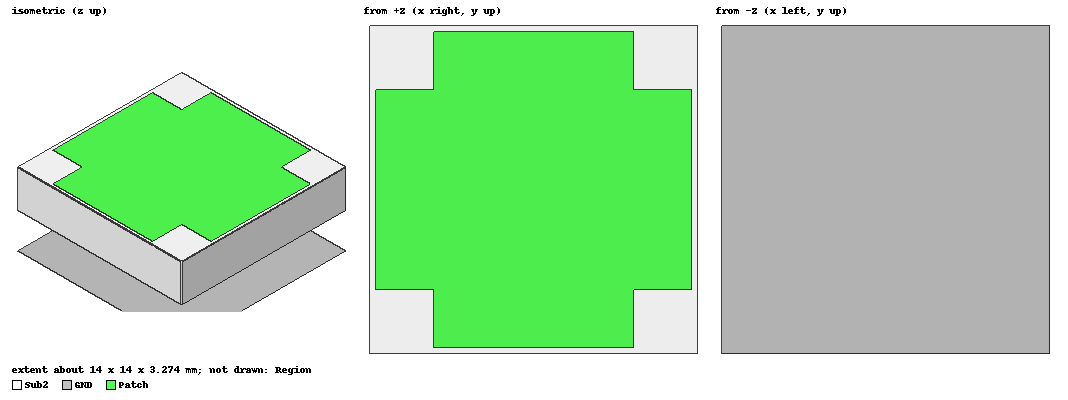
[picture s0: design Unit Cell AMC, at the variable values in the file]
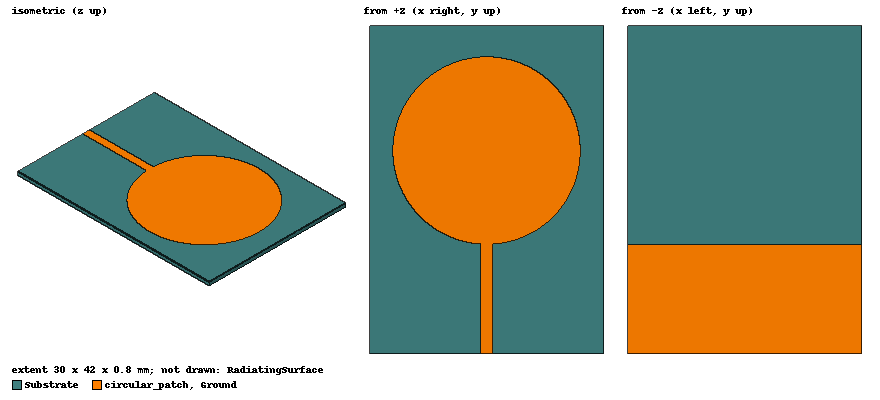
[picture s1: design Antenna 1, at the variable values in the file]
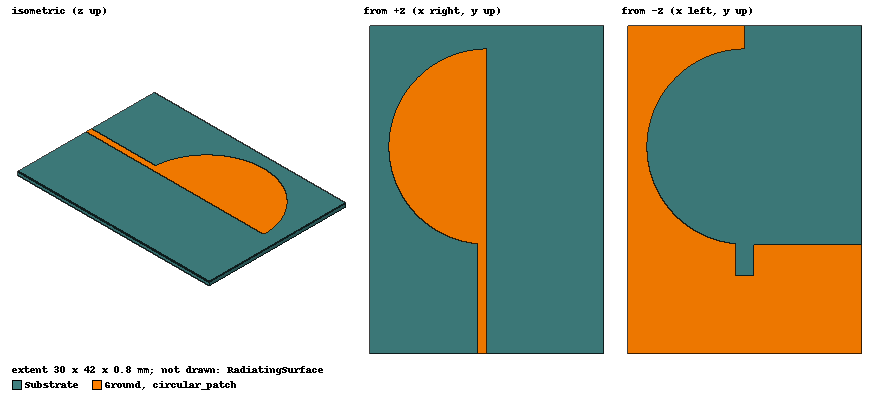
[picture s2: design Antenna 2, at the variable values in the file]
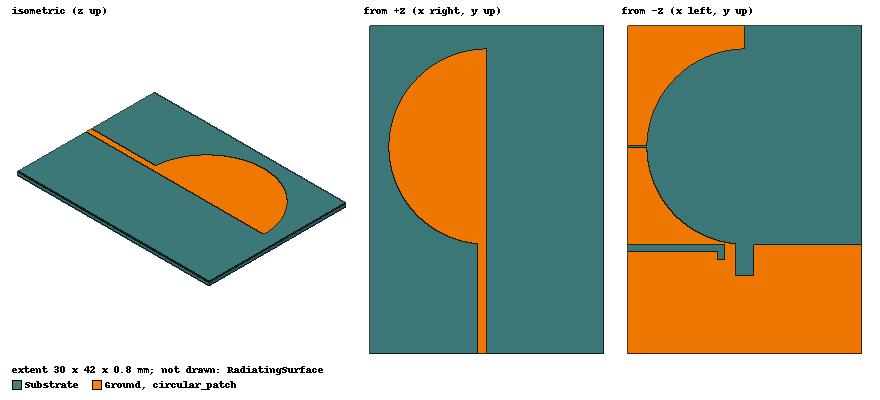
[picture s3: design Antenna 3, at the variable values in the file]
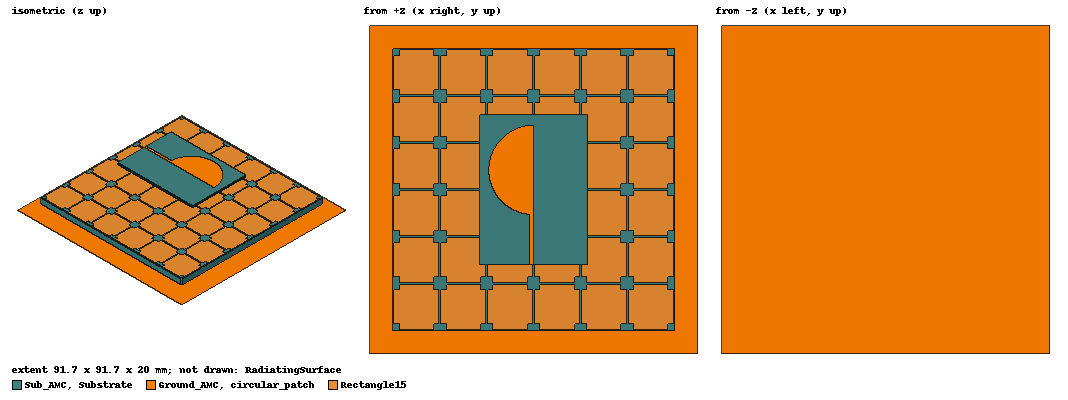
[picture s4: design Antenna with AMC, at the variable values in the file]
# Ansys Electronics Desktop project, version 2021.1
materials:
  FR4_epoxy: permittivity=4.4 dielectric_loss_tangent=0.02
  copper: permeability=0.999991 conductivity=58000000
  vacuum: permittivity=1

design Unit Cell AMC (HFSS, DrivenModal, model units mm)
options: Calculate_Lossy_Dielectrics Save_Adaptive_support_files
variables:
  P = 14mm
  t = 0mm
  hs = 3.2mm
  Wo = 13.5mm
  H = 41.666667mm
  ha = 0mm
  g = 8.2mm
  ws1 = 3mm
  ws2 = 3mm
  ls1 = 2mm
  ls2 = ls1- 2*(r1-r2)
  r1 = 6.5mm
  r2 = 6mm
  k = 3mm
  l = 2.5mm
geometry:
  GND [copper] = box(corner=(-P/2, -P/2, -3mm), size=(P, P, t))
  Patch [copper] = box(corner=(-Wo/2, -Wo/2, t+hs+ha), size=(Wo, Wo, t))
  Sub2 [FR4_epoxy] = box(corner=(-P/2, -P/2, 0mm), size=(P, P, hs))
  Region [vacuum] = region(absolute_offset: +X=0, -X=0, +Y=0, -Y=0, +Z=41.666667mm, -Z=0)
  Rectangle1 = rectangle(corner=(-Wo/2, -Wo/2, t+hs+ha), x_size=l, y_size=l)
  Rectangle1_1 = Rectangle1.duplicate_along_line(step=(0mm, Wo-l, 0mm), total=2)
  Rectangle1.unite(Rectangle1_1)
  Rectangle1_2 = Rectangle1.duplicate_along_line(step=(wo-l, 0mm, 0mm), total=2)
  Rectangle1.unite(Rectangle1_2)
  Patch.subtract(Rectangle1)
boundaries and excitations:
  Primary1: Primary Faces=Region.face(-y) CoordSysVector{Region.vertex(4 of 8) -> Region.vertex(1 of 8)}
  Primary2: Primary Faces=Region.face(-x) CoordSysVector{Region.vertex(4 of 8) -> Region.vertex(3 of 8)} ReverseV
  Secondary2: Secondary Faces=Region.face(+x) CoordSysVector{Region.vertex(1 of 8) -> Region.vertex(2 of 8)} primary=Primary2 PhaseDelay=UseScanAngle Phi=0deg Theta=0deg
  Secondary1: Secondary Faces=Region.face(+y) CoordSysVector{Region.vertex(3 of 8) -> Region.vertex(2 of 8)} ReverseV primary=Primary1 PhaseDelay=UseScanAngle Phi=0deg Theta=0deg
  FiniteCond1: Finite Conductivity Objects=GND Conductivity=58000000 Permeability=1 IsInternal
  FiniteCond2: Finite Conductivity Objects=Patch Conductivity=58000000 Permeability=1 IsInternal
  FloquetPort1: Floquet Port Faces=Region.face(+z) NumModes=2 DeembedDist=41.666667mm Modes{Mode1{CharImp=Zpi} Mode2{CharImp=Zpi}} PhaseDelay=UseScanAngle Phi=0deg Theta=0deg LatticeAVector{Region.vertex(3 of 8) -> Region.vertex(4 of 8)} LatticeBVector{Region.vertex(3 of 8) -> Region.vertex(2 of 8)} ModesList{Mode{ModeNumber=1 IndexM=0 IndexN=0 KC2=0 PropagationState=Propagating Attenuation=0 PolarizationState=TE AffectsRefinement} Mode{ModeNumber=2 IndexM=0 IndexN=0 KC2=0 PropagationState=Propagating Attenuation=0 PolarizationState=TM AffectsRefinement}}
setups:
  Setup1: HfssDriven Frequency=3.1GHz MaxDeltaS=0.02 MaximumPasses=20 MinimumPasses=1 MinimumConvergedPasses=1 PercentRefinement=30 BasisOrder=1 PortAccuracy=2 IESolverType=ACA
    sweep Sweep: 2GHz to 7GHz, 51 points; Type=Interpolating InterpTolerance=0.5 InterpMaxSolns=250 InterpUsePortImped=false PassivityErrorTolerance=0.0001
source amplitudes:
  FloquetPort1:1: 1W 0deg
  FloquetPort1:2: 0W 0deg
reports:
  S Parameter Plot 1: ang_deg(S(FloquetPort1:1,FloquetPort1:1)) vs Freq on Setup1 : Sweep; markers MX1 at x=5.8479441e+09, MX2 at x=2.4e+09, MY1 at y=0

design Antenna 1 (HFSS, DrivenModal, model units mm)
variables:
  Ws = 30mm
  Ls = 42mm
  hs = 0.8mm
  R_ = 12mm
  L1 = 14mm
  L2 = 12mm
  L3 = 1mm
  L4 = 13mm
  L5 = 2mm
  L6 = 1mm
  W1 = 12.5mm
  W2 = 13.9mm
  Wf = 1.5mm
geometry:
  Substrate [FR4_epoxy] = box(corner=(-Ws/2, -Ls/2, 0mm), size=(Ws, Ls, hs))
  Ground = rectangle(corner=(-Ws/2, -Ls/2, 0), x_size=Ws, y_size=L1)
  circular_patch = circle(normal=Z, centre=(0mm, -Ls/2+L1+R_, hs), radius=R_)
  Rectangle12 = rectangle(corner=(-Wf/2, -Ls/2, hs), x_size=Wf, y_size=L1+1mm)
  circular_patch.unite(Rectangle12)
  Rectangle13 = rectangle(corner=(-wf/2, -Ls/2, 0), z_size=hs, x_size=Wf)
  RadiatingSurface [vacuum] = region(absolute_offset=41.666667mm on all sides)
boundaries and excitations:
  FiniteCond_ground: Finite Conductivity Objects=Ground Conductivity=58000000 Permeability=1 IsInternal
  FiniteCond_patch: Finite Conductivity Objects=circular_patch Conductivity=58000000 Permeability=1 IsInternal
  Open1: Radiation Objects=RadiatingSurface
  1: Lumped Port Objects=Rectangle13 Modes{Mode1{IntLine{middle of Rectangle13.edge(z at corner) -> middle of Rectangle13.edge(z opposite corner)} CharImp=Zpi RenormImp=50ohm}} Impedance=50ohm
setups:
  Setup1: HfssDriven MultipleAdaptiveFreqsSetup{AdaptAt{Frequency=2.45GHz Delta=0.02} AdaptAt{Frequency=5.5GHz Delta=0.02}} MaximumPasses=30 MinimumPasses=1 MinimumConvergedPasses=1 PercentRefinement=30 BasisOrder=1 PortAccuracy=2
    sweep Sweep: 2GHz to 7GHz step 0.01GHz; Type=Discrete SaveFields SaveRadFields
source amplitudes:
  1:1: 1W 0deg
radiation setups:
  3D: Infinite Sphere Theta=-180deg..180deg step 2deg Phi=-180deg..180deg step 2deg
  Elevation: Infinite Sphere Theta=-180deg..180deg step 1deg Phi=0deg..90deg step 90deg
  Azimuth: Infinite Sphere Theta=90deg..90deg step 0deg Phi=-180deg..180deg step 1deg
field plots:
  Vector_Jsurf2: Jsurf over circular_patch.face(at (0, 5, 0.8)) Ground.face on Setup1 : LastAdaptive at Freq=5.5GHz Phase=0deg
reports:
  S Parameter Plot 1: dB(S(1,1)) vs Freq on Setup1 : Sweep; markers m1 at 3.14GHz, m2 at 6.24GHz, MY1 at y=-10.0097
  Axial Ratio Plot 1: dB(AxialRatioValue) vs Freq on Setup1 : Sweep, 3D [Phi=0deg Theta=0deg]; markers MY1 at y=3.0445
  Realized Gain Plot 1: dB(RealizedGainTotal) vs Freq on Setup1 : Sweep, 3D [Phi=0deg Theta=0deg R_=12mm]; markers m1 at 5.5GHz, MY1 at y=3.70526

design Antenna 2 (HFSS, DrivenModal, model units mm)
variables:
  Ws = 30mm
  Ls = 42mm
  hs = 0.8mm
  R_ = 12.5mm
  L1 = 14mm
  L2 = 4mm
  L3 = 2mm
  L4 = 1mm
  L5 = 0.3mm
  W1 = 12.5mm
  W2 = 2.4mm
  Wf = 1.2mm
  d = 13mm
  ha = 3.2mm
  g = (d-a)/2
  Wa = 6*d
  La = 6*d
  a = 12.5mm
  h1 = 13.5mm
  h2 = 3mm
  k = 2mm
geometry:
  Substrate [FR4_epoxy] = box(corner=(-Ws/2, -Ls/2, 0mm), size=(Ws, Ls, hs))
  Ground = rectangle(corner=(-Ws/2, -Ls/2, 0), x_size=Ws, y_size=L1)
  Rectangle4 = rectangle(corner=(0, -Ls/2, 0mm), x_size=Ws/2, y_size=Ls)
  Rectangle11 = rectangle(corner=(0, -Ls/2, hs), x_size=Ws/2, y_size=Ls)
  circular_patch = circle(normal=Z, centre=(0mm, -Ls/2+L1+R_, hs), radius=R_)
  circular_patch.subtract(Rectangle11)
  Rectangle12 = rectangle(corner=(-Wf, -Ls/2, hs), x_size=Wf, y_size=L1+1mm)
  circular_patch.unite(Rectangle12)
  Rectangle13 = rectangle(corner=(-Wf, -Ls/2, 0), z_size=hs, x_size=Wf)
  Circle1 = circle(normal=Z, centre=(0mm, -Ls/2+L1+R_, 0), radius=R_)
  Rectangle4.subtract(Circle1)
  Ground.unite(Rectangle4)
  RadiatingSurface [vacuum] = region(absolute_offset=41.666667mm on all sides)
  Rectangle14 = rectangle(corner=(-w2/2, -ls/2+l1+0.5mm, 0mm), x_size=w2, y_size=-l2-0.5mm)
  Ground.subtract(Rectangle14)
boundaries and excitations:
  FiniteCond_ground: Finite Conductivity Objects=Ground Conductivity=58000000 Permeability=1 IsInternal
  FiniteCond_patch: Finite Conductivity Objects=circular_patch Conductivity=58000000 Permeability=1 IsInternal
  Open1: Radiation Objects=RadiatingSurface
  1: Lumped Port Objects=Rectangle13 Modes{Mode1{IntLine{middle of Rectangle13.edge(z at corner) -> middle of Rectangle13.edge(z opposite corner)} CharImp=Zpi RenormImp=50ohm}} Impedance=50ohm
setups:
  Setup1: HfssDriven MultipleAdaptiveFreqsSetup{AdaptAt{Frequency=2.45GHz Delta=0.02} AdaptAt{Frequency=5.5GHz Delta=0.02}} MaximumPasses=30 MinimumPasses=1 MinimumConvergedPasses=1 PercentRefinement=30 BasisOrder=1 PortAccuracy=2
    sweep Sweep: 2GHz to 7GHz step 0.01GHz; Type=Discrete SaveFields SaveRadFields
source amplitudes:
  1:1: 1W 0deg
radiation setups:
  3D: Infinite Sphere Theta=-180deg..180deg step 2deg Phi=-180deg..180deg step 2deg
  Elevation: Infinite Sphere Theta=-180deg..180deg step 1deg Phi=0deg..90deg step 90deg
  Azimuth: Infinite Sphere Theta=90deg..90deg step 0deg Phi=-180deg..180deg step 1deg
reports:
  S Parameter Plot 1: dB(S(1,1)) vs Freq on Setup1 : Sweep; markers m1 at 2.82GHz, m2 at 5.17GHz, MY1 at y=-10
  Axial Ratio Plot 1: dB(AxialRatioValue) vs Freq on Setup1 : Sweep, 3D [Phi=0deg Theta=0deg]; markers m1 at 2.4GHz, m4 at 5.4GHz, m5 at 5.08GHz, MY1 at y=3.84075
  Realized Gain Plot 1: dB(RealizedGainTotal) vs Freq on Setup1 : Sweep, 3D [Phi=0deg Theta=0deg]; markers m1 at 5.5GHz, m2 at 4.71GHz, m3 at 5.48GHz

design Antenna 3 (HFSS, DrivenModal, model units mm)
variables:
  Ws = 30mm
  Ls = 42mm
  hs = 0.8mm
  R_ = 12.5mm
  L1 = 14mm
  L2 = 4mm
  L3 = 2mm
  L4 = 1mm
  L5 = 0.3mm
  W1 = 12.5mm
  W2 = 2.4mm
  Wf = 1.2mm
  d = 13mm
  ha = 3.2mm
  g = (d-a)/2
  Wa = 6*d
  La = 6*d
  a = 12.5mm
  h1 = 13.5mm
  h2 = 3mm
  k = 2mm
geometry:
  Substrate [FR4_epoxy] = box(corner=(-Ws/2, -Ls/2, 0mm), size=(Ws, Ls, hs))
  Ground = rectangle(corner=(-Ws/2, -Ls/2, 0), x_size=Ws, y_size=L1)
  Rectangle4 = rectangle(corner=(0, -Ls/2, 0mm), x_size=Ws/2, y_size=Ls)
  Rectangle11 = rectangle(corner=(0, -Ls/2, hs), x_size=Ws/2, y_size=Ls)
  circular_patch = circle(normal=Z, centre=(0mm, -Ls/2+L1+R_, hs), radius=R_)
  circular_patch.subtract(Rectangle11)
  Rectangle12 = rectangle(corner=(-Wf, -Ls/2, hs), x_size=Wf, y_size=L1+1mm)
  circular_patch.unite(Rectangle12)
  Rectangle13 = rectangle(corner=(-Wf, -Ls/2, 0), z_size=hs, x_size=Wf)
  Circle1 = circle(normal=Z, centre=(0mm, -Ls/2+L1+R_, 0), radius=R_)
  Rectangle4.subtract(Circle1)
  Ground.unite(Rectangle4)
  RadiatingSurface [vacuum] = region(absolute_offset=41.666667mm on all sides)
  Rectangle14 = rectangle(corner=(-w2/2, -ls/2+l1+0.5mm, 0mm), x_size=w2, y_size=-l2-0.5mm)
  Ground.subtract(Rectangle14)
  Slot4 = rectangle(corner=(Ws/2, -Ls/2 + L1+R_-L5/2, 0mm), x_size=-(Ws-2*R_)/2-1mm, y_size=L5)
  Ground.subtract(Slot4)
  Slot2 = rectangle(corner=(Ws/2-W1, -Ls/2 + L1, 0mm), x_size=W1, y_size=-L4)
  Slot3 = rectangle(corner=(Ws/2-W1, -Ls/2 + L1, 0mm), x_size=L4, y_size=-L3)
  Ground.subtract(Slot2, Slot3)
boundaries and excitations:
  FiniteCond_ground: Finite Conductivity Objects=Ground Conductivity=58000000 Permeability=1 IsInternal
  FiniteCond_patch: Finite Conductivity Objects=circular_patch Conductivity=58000000 Permeability=1 IsInternal
  Open1: Radiation Objects=RadiatingSurface
  1: Lumped Port Objects=Rectangle13 Modes{Mode1{IntLine{middle of Rectangle13.edge(z at corner) -> middle of Rectangle13.edge(z opposite corner)} CharImp=Zpi RenormImp=50ohm}} Impedance=50ohm
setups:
  Setup1: HfssDriven MultipleAdaptiveFreqsSetup{AdaptAt{Frequency=2.45GHz Delta=0.02} AdaptAt{Frequency=5.5GHz Delta=0.02}} MaximumPasses=30 MinimumPasses=1 MinimumConvergedPasses=1 PercentRefinement=30 BasisOrder=1 PortAccuracy=2
    sweep Sweep: 2GHz to 7GHz step 0.01GHz; Type=Discrete SaveFields SaveRadFields
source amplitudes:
  1:1: 1W 0deg
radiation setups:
  3D: Infinite Sphere Theta=-180deg..180deg step 2deg Phi=-180deg..180deg step 2deg
  Elevation: Infinite Sphere Theta=-180deg..180deg step 1deg Phi=0deg..90deg step 90deg
  Azimuth: Infinite Sphere Theta=90deg..90deg step 0deg Phi=-180deg..180deg step 1deg
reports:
  S Parameter Plot 1: dB(S(1,1)) vs Freq on Setup1 : Sweep; markers m1 at 5.3GHz, m4 at 2.39GHz, m5 at 2.57GHz, m6 at 3.86GHz, MY1 at y=-10
  Axial Ratio Plot 1: dB(AxialRatioValue) vs Freq on Setup1 : Sweep, 3D [Phi=0deg Theta=0deg]; markers m1 at 2.34GHz, m4 at 5.13GHz, m5 at 3.46GHz, MY1 at y=3.00986
  Realized Gain Plot 1: dB(RealizedGainTotal) vs Freq on Setup1 : Sweep, 3D [Phi=0deg Theta=0deg]; markers m1 at 4.85GHz, m2 at 5.15GHz, m4 at 2.45GHz, m5 at 2.5GHz, m6 at 5.5GHz

design Antenna with AMC (HFSS, DrivenModal, model units mm)
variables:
  Ws = 30mm
  Ls = 42mm
  hs = 0.8mm
  R_ = 12.5mm
  L1 = 14mm
  L2 = 4mm
  L3 = 2mm
  L4 = 1mm
  L5 = 0.5mm
  W1 = 12.8mm
  W2 = 2.4mm
  Wf = 1.2mm
  d = 13.1mm
  ha = 3.2mm
  g = (d-a)/2
  Wa = 6*d
  La = 6*d
  a = 12.6mm
  h1 = 13mm
  h2 = 3mm
  k = 1.5mm
  Wga = 6*d+d
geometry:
  Substrate [FR4_epoxy] = box(corner=(-Ws/2, -Ls/2, 0mm), size=(Ws, Ls, hs))
  Ground = rectangle(corner=(-Ws/2, -Ls/2, 0), x_size=Ws, y_size=L1)
  Rectangle4 = rectangle(corner=(0, -Ls/2, 0mm), x_size=Ws/2, y_size=Ls)
  Rectangle11 = rectangle(corner=(0, -Ls/2, hs), x_size=Ws/2, y_size=Ls)
  circular_patch = circle(normal=Z, centre=(0mm, -Ls/2+L1+R_, hs), radius=R_)
  circular_patch.subtract(Rectangle11)
  Rectangle12 = rectangle(corner=(-Wf, -Ls/2, hs), x_size=Wf, y_size=L1+1mm)
  circular_patch.unite(Rectangle12)
  Rectangle13 = rectangle(corner=(-Wf, -Ls/2, 0), z_size=hs, x_size=Wf)
  Circle1 = circle(normal=Z, centre=(0mm, -Ls/2+L1+R_, 0), radius=R_)
  Rectangle4.subtract(Circle1)
  Ground.unite(Rectangle4)
  RadiatingSurface [vacuum] = region(absolute_offset=41.666667mm on all sides)
  Rectangle14 = rectangle(corner=(-w2/2, -ls/2+l1+0.5mm, 0mm), x_size=w2, y_size=-l2-0.5mm)
  Ground.subtract(Rectangle14)
  Slot4 = rectangle(corner=(Ws/2, -Ls/2 + L1+R_-L5/2, 0mm), x_size=-(Ws-2*R_)/2-1mm, y_size=L5)
  Ground.subtract(Slot4)
  Slot2 = rectangle(corner=(Ws/2-W1, -Ls/2 + L1, 0mm), x_size=W1, y_size=-L4)
  Slot3 = rectangle(corner=(Ws/2-W1, -Ls/2 + L1, 0mm), x_size=L4, y_size=-L3)
  Ground.subtract(Slot2, Slot3)
  Sub_AMC [FR4_epoxy] = box(corner=(-Wa/2, -La/2, -ha -h1), size=(wa, la, ha))
  Ground_AMC = rectangle(corner=(-(wga)/2, -(wga)/2, -ha-h1-h2), x_size=wga, y_size=wga)
  Rectangle15 = rectangle(corner=(-Wa/2+g, -Wa/2+g, -h1), x_size=a, y_size=a)
  Rectangle16 = rectangle(corner=(-Wa/2+g, -Wa/2+g, -h1), x_size=k, y_size=k)
  Rectangle16_1 = Rectangle16.duplicate_along_line(step=(a-k, 0mm, 0mm), total=2)
  Rectangle16.unite(Rectangle16_1)
  Rectangle16_2 = Rectangle16.duplicate_along_line(step=(0mm, a-k, 0mm), total=2)
  Rectangle16.unite(Rectangle16_2)
  Rectangle15.subtract(Rectangle16)
  Rectangle15_1..Rectangle15_5 = Rectangle15.duplicate_along_line(step=(d, 0mm, 0mm), total=6)
  Rectangle15.unite(Rectangle15_1..Rectangle15_5)
  Rectangle15_6..Rectangle15_10 = Rectangle15.duplicate_along_line(step=(0mm, d, 0mm), total=6)
  Rectangle15.unite(Rectangle15_6..Rectangle15_10)
  coordinate_system RelativeCS1 = origin=(32mm, 10mm, 0mm) x=(1mm, 0mm, 0mm) y=(0mm, 1mm, 0mm)
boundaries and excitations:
  FiniteCond_ground: Finite Conductivity Objects=Ground Conductivity=58000000 Permeability=1 IsInternal
  FiniteCond_patch: Finite Conductivity Objects=circular_patch Conductivity=58000000 Permeability=1 IsInternal
  Open1: Radiation Objects=RadiatingSurface
  FiniteCond_gnd_amc: Finite Conductivity Objects=Ground_AMC Conductivity=58000000 Permeability=1 IsInternal
  FiniteCond1: Finite Conductivity Objects=Rectangle15 Conductivity=58000000 Permeability=1 IsInternal
  1: Lumped Port Objects=Rectangle13 Modes{Mode1{IntLine{middle of Rectangle13.edge(z at corner) -> middle of Rectangle13.edge(z opposite corner)} CharImp=Zpi RenormImp=50ohm}} Impedance=50ohm
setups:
  Setup2: HfssDriven MultipleAdaptiveFreqsSetup{AdaptAt{Frequency=2.45GHz Delta=0.02} AdaptAt{Frequency=5.5GHz Delta=0.02}} MaximumPasses=30 MinimumPasses=1 MinimumConvergedPasses=1 PercentRefinement=30 BasisOrder=1 PortAccuracy=2
    sweep Sweep: 2GHz to 7GHz step 0.01GHz; Type=Discrete SaveFields
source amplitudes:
  1:1: 1W 0deg
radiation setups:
  3D: Infinite Sphere Theta=-180deg..180deg step 2deg Phi=-180deg..180deg step 2deg
  Elevation: Infinite Sphere Theta=-180deg..180deg step 1deg Phi=0deg..90deg step 90deg
  Azimuth: Infinite Sphere Theta=90deg..90deg step 0deg Phi=-180deg..180deg step 1deg
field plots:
  Vector_Jsurf1: Jsurf over circular_patch.face(at (0, 5.5, 0.8)) Ground.face(all 2) on Setup2 : LastAdaptive at Freq=5.5GHz Phase=0deg
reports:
  S Parameter Plot 1: dB(S(1,1)) vs Freq on Setup2 : Sweep; markers m1 at 2.67GHz, m2 at 3.61GHz, m3 at 5.43GHz, m4 at 3.2GHz, MY1 at y=-19.6089
  Axial Ratio Plot 1: dB(AxialRatioValue) vs Freq on Setup2 : Sweep, 3D [Phi=0deg Theta=0deg]; markers m1 at 2.36GHz, m2 at 5.53GHz, MY1 at y=3
  Realized Gain Plot 1: dB(RealizedGainTotal) vs Freq on Setup2 : Sweep, 3D [Phi=0deg Theta=0deg]; markers m1 at 5.5GHz, m2 at 5.85GHz, m3 at 2.4GHz, m4 at 2.5GHz, m5 at 2.45GHz, MX1 at x=5.1709957e+09
  Antenna Params Plot 1: RadiationEfficiency vs Freq on Setup2 : Sweep; markers m1 at 4.11GHz, m2 at 2.44GHz, m3 at 5.55GHz
  Realized Gain Plot 2.45_xz: dB(RealizedGainLHCP), dB(RealizedGainRHCP) vs Theta on Setup2 : Sweep, 3D [Phi=0deg Freq=2.45GHz]
  Realized Gain Plot 2.45_yz: dB(RealizedGainLHCP), dB(RealizedGainRHCP) vs Theta on Setup2 : Sweep, 3D [Phi=90deg Freq=2.45GHz]; markers m1 at 46deg, m2 at 0deg, m3 at 42deg, m4 at 42deg, m5 at 44deg, m6 at -46deg, m7 at -28deg, m8 at -30deg
  Realized Gain Plot 5.5_yz: dB(RealizedGainLHCP), dB(RealizedGainRHCP) vs Theta on Setup2 : Sweep, 3D [Phi=90deg Freq=5.5GHz]; markers m1 at 42deg, m2 at 0deg, m3 at 2deg, m4 at 2deg, m5 at 30deg, m6 at 0deg, m7 at -28deg, m8 at -14deg, m9 at -12deg, m10 at -18deg, m11 at 22deg, m12 at 36deg, m13 at 54deg, m14 at 60deg, m15 at 46deg, m16 at 46deg
  Realized Gain Plot 5.5_xz: dB(RealizedGainLHCP), dB(RealizedGainRHCP) vs Theta on Setup2 : Sweep, 3D [Phi=0deg Freq=5.5GHz]; markers m1 at 0deg, m2 at -2deg, m3 at -38deg, m4 at -30deg, m5 at -34deg, m6 at -36deg, m7 at 34deg, m8 at 32deg, m9 at 28deg, m10 at 30deg, m11 at 32deg
  Realized Gain Plot 2.45: dB(RealizedGainTotal) vs Phi, Theta on Setup2 : LastAdaptive, 3D [Freq=2.45GHz]
  Realized Gain Plot 5.5: dB(RealizedGainTotal) vs Phi, Theta on Setup2 : LastAdaptive, 3D [Freq=5.5GHz]
